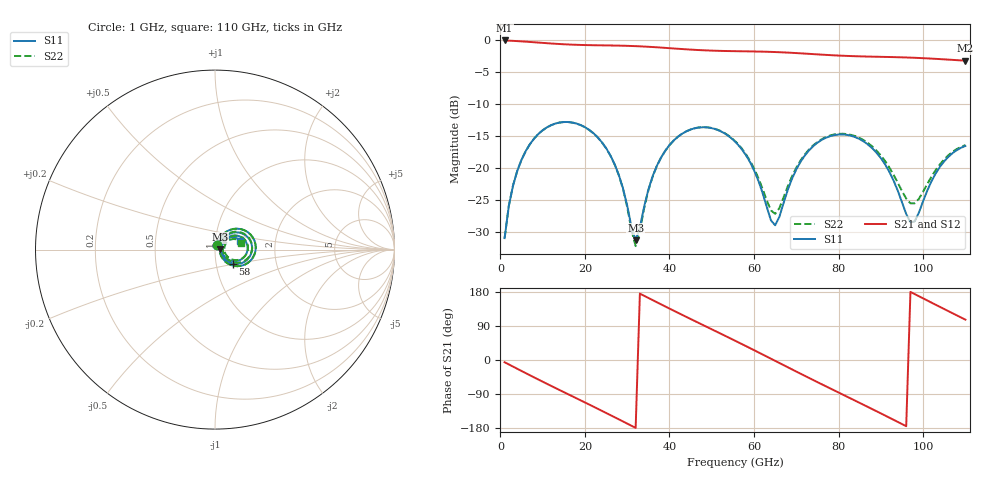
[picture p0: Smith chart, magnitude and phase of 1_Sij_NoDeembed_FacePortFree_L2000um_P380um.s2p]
! Touchstone file exported from HFSS 2024.2.0
!  File:  C:/Users/vaintrug/Documents/Ansoft_Workspace/Comparaison_Calculs_HFSS/1_VarPort.aedt
!  Generated:  03:22:19 PM Jan 21, 2025
!  Design:  1_NoDeembed_FacePortFree
!  Project:  1_VarPort
!  Setup:  Setup1
!  Solution:  Sweep
! Variables:
!  $Lenght = 2000um
!  $PortSize = 380um
!  Gap = 30um
!  Th = 2um
!  X_centralStrip = 20um
!  X_masse = 200um
!  Y_Sub = 2mm
!  Z_Box = 400um
!  Z_Sub = 200um
# GHz S MA R 50.000000
! Terminal data exported
! Port[1] = 1
! Port[2] = 2
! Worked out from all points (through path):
!   110 points, 1 GHz to 110 GHz, reference 50 ohm
!   highest |S21| = -0.13 dB at 1 GHz (marker M1); lowest = -3.3 dB at 110 GHz (marker M2)
!   group delay of S21, straight-line fit = 15.4 ps
!   lowest |S11| = -31.3 dB at 32 GHz (marker M3), VSWR 1.06, Z = 52.8 + j0.0589 ohm
!   |S11| at or under -10 dB: start of sweep to end of sweep
!   |S22| runs from -32.2 to -12.9 dB; largest |S21 - S12| = 2.2e-15
!   S11 on the Smith chart (normalised r, x): 1 GHz: 1.03, +0.05; 58 GHz: 1.21, -0.19; 110 GHz: 1.32, +0.13
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1  0.02823 61.7  0.9854 -5.9  0.9854 -5.9  0.02822 61.7
! Gamma 5.88260655063815 49.7836643526002 6.01152696670409 50.0665454648552
! Port Impedance 50 0 50 0
3  0.07284 65.8  0.9782 -17.4  0.9782 -17.4  0.07283 65.8
7  0.153 48.7  0.9594 -40.3  0.9594 -40.3  0.153 48.7
13  0.2213 17.9  0.9285 -73.8  0.9285 -73.8  0.2212 17.8
20  0.2074 -17.1  0.9073 -112.0  0.9073 -112.0  0.2072 -17.3
27  0.1071 -46.6  0.8993 -150.8  0.8993 -150.8  0.1066 -47.4
32  0.02716 1.2  0.8896 -179.2  0.8896 -179.2  0.02444 1.6
35  0.06746 52.4  0.8796 163.8  0.8796 163.8  0.06639 55.3
38  0.1202 47.4  0.867 146.9  0.867 146.9  0.1197 49.6
43  0.1845 26.7  0.8443 119.2  0.8443 119.2  0.1845 28.7
47  0.2062 8.4  0.8291 97.3  0.8291 97.3  0.2065 10.6
56  0.1541 -31.0  0.8123 48.2  0.8123 48.2  0.1558 -27.5
58  0.1266 -38.0  0.8105 37.1  0.8105 37.1  0.1289 -33.8
65  0.03557 4.8  0.8002 -2.2  0.8002 -2.2  0.04368 5.0
70  0.09704 43.6  0.7855 -30.4  0.7855 -30.4  0.1001 40.9
74  0.1474 31.5  0.7709 -52.8  0.7709 -52.8  0.1495 30.7
83  0.1776 -6.2  0.7443 -102.3  0.7443 -102.3  0.1805 -4.4
92  0.09308 -37.1  0.7318 -152.1  0.7318 -152.1  0.1006 -30.7
96  0.04354 -22.0  0.7257 -174.7  0.7257 -174.7  0.05748 -15.8
98  0.03811 14.2  0.7216 174.0  0.7216 174.0  0.05276 8.1
104  0.1019 39.9  0.7048 140.0  0.7048 140.0  0.1066 32.1
110  0.1479 19.4  0.6855 106.5  0.6855 106.5  0.1502 14.9
